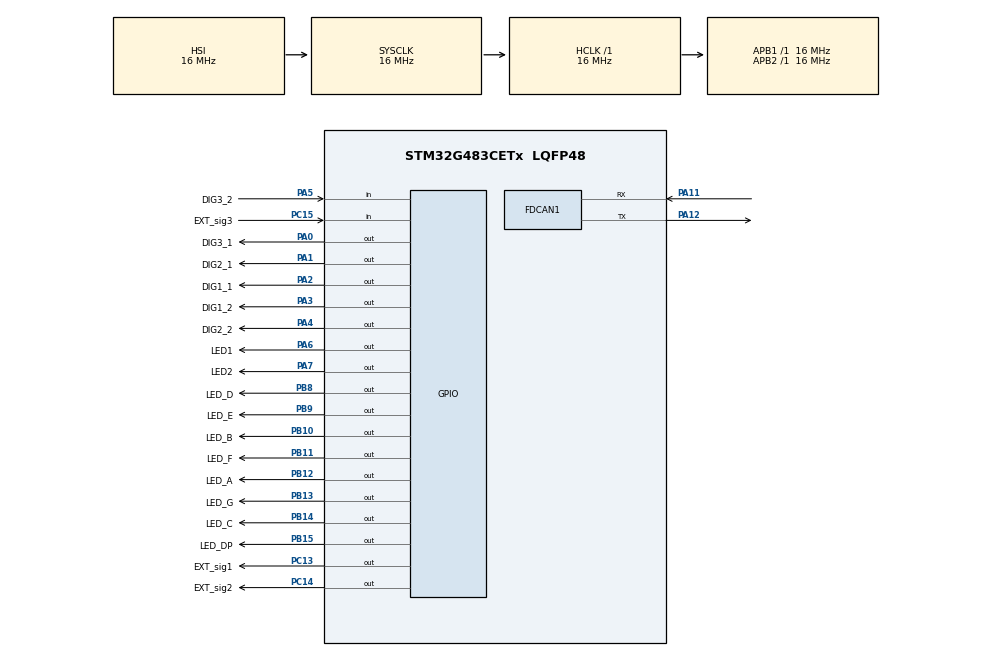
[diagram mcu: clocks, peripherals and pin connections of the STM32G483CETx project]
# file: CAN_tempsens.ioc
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FDCAN1.DataPrescaler=5
FDCAN1.DataSyncJumpWidth=16
FDCAN1.DataTimeSeg1=13
FDCAN1.DataTimeSeg2=2
FDCAN1.NominalPrescaler=5
FDCAN1.NominalSyncJumpWidth=16
FDCAN1.NominalTimeSeg1=13
Mcu.Family=STM32G4
Mcu.Name=STM32G483CETx
Mcu.Package=LQFP48
NVIC.FDCAN1_IT0_IRQn=true\:0\:0\:false\:false\:true\:true\:true
NVIC.PriorityGroup=NVIC_PRIORITYGROUP_4
PA0.GPIO_Label=DIG3_1
PA0.Signal=GPIO_Output
PA1.GPIO_Label=DIG2_1
PA1.Signal=GPIO_Output
PA11.Mode=FDCANMaster
PA11.Signal=FDCAN1_RX
PA12.Mode=FDCANMaster
PA12.Signal=FDCAN1_TX
PA13.Mode=JTAG_5_pins
PA13.Signal=SYS_JTMS-SWDIO
PA14.Mode=JTAG_5_pins
PA14.Signal=SYS_JTCK-SWCLK
PA15.Mode=JTAG_5_pins
PA15.Signal=SYS_JTDI
PA2.GPIO_Label=DIG1_1
PA2.Signal=GPIO_Output
PA3.GPIO_Label=DIG1_2
PA3.Signal=GPIO_Output
PA4.GPIO_Label=DIG2_2
PA4.Signal=GPIO_Output
PA5.GPIO_Label=DIG3_2
PA5.Signal=GPIO_Input
PA6.GPIO_Label=LED1
PA6.Signal=GPIO_Output
PA7.GPIO_Label=LED2
PA7.Signal=GPIO_Output
PB10.GPIO_Label=LED_B
PB10.Signal=GPIO_Output
PB11.GPIO_Label=LED_F
PB11.Signal=GPIO_Output
PB12.GPIO_Label=LED_A
PB12.Signal=GPIO_Output
PB13.GPIO_Label=LED_G
PB13.Signal=GPIO_Output
PB14.GPIO_Label=LED_C
PB14.Signal=GPIO_Output
PB15.GPIO_Label=LED_DP
PB15.Signal=GPIO_Output
PB3.Mode=JTAG_5_pins
PB3.Signal=SYS_JTDO-SWO
PB4.Mode=JTAG_5_pins
PB4.Signal=SYS_JTRST
PB8-BOOT0.GPIO_Label=LED_D
PB8-BOOT0.Signal=GPIO_Output
PB9.GPIO_Label=LED_E
PB9.Signal=GPIO_Output
PC13.GPIO_Label=EXT_sig1
PC13.Signal=GPIO_Output
PC14-OSC32_IN.GPIO_Label=EXT_sig2
PC14-OSC32_IN.Signal=GPIO_Output
PC15-OSC32_OUT.GPIO_Label=EXT_sig3
PC15-OSC32_OUT.Signal=GPIO_Input
ProjectManager.HeapSize=0x200
ProjectManager.StackSize=0x400
ProjectManager.TargetToolchain=STM32CubeIDE
RCC.AHBFreq_Value=16000000
RCC.APB1Freq_Value=16000000
RCC.APB1TimFreq_Value=16000000
RCC.APB2Freq_Value=16000000
RCC.APB2TimFreq_Value=16000000
RCC.CortexFreq_Value=16000000
RCC.EXTERNAL_CLOCK_VALUE=12288000
RCC.FDCANCLockSelection=RCC_FDCANCLKSOURCE_PLL
RCC.HCLKFreq_Value=16000000
RCC.HSE_VALUE=8000000
RCC.HSI48_VALUE=48000000
RCC.HSI_VALUE=16000000
RCC.LSE_VALUE=32768
RCC.PLLM=RCC_PLLM_DIV2
RCC.PLLN=15
RCC.PLLQ=RCC_PLLQ_DIV6
RCC.SYSCLKFreq_VALUE=16000000
RCC.USBFreq_Value=20000000
RCC.VCOOutputFreq_Value=120000000
VP_SYS_VS_DBSignals.Mode=DisableDeadBatterySignals
board=custom

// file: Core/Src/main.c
/* USER CODE BEGIN Header */
/**
  ******************************************************************************
  * @file           : main.c
  * @brief          : Main program body
  ******************************************************************************
  * @attention
  *
  * <h2><center>&copy; Copyright (c) 2022 STMicroelectronics.
  * All rights reserved.</center></h2>
  *
  * This software component is licensed by ST under BSD 3-Clause license,
  * the "License"; You may not use this file except in compliance with the
  * License. You may obtain a copy of the License at:
  *                        opensource.org/licenses/BSD-3-Clause
  *
  ******************************************************************************
  */
/* USER CODE END Header */
#include "main.h"

/* USER CODE BEGIN PTD */

uint16_t disp1_number;
uint16_t disp2_number;
FDCAN_TxHeaderTypeDef TxHeader;
FDCAN_RxHeaderTypeDef RxHeader;
uint8_t TxData[8];
uint8_t RxData[8];
uint32_t TxMailbox;

/* USER CODE END PTD */

FDCAN_HandleTypeDef hfdcan1;

void SystemClock_Config(void);
static void MX_GPIO_Init(void);
static void MX_FDCAN1_Init(void);

/* USER CODE BEGIN 0 */

void display_digit(uint8_t number,uint8_t decimal){
	uint32_t odr;
	uint32_t newportdata;

	uint16_t digits[] =
		   {0b0101111100000000,
			0b0100010000000000,
			0b0011011100000000,
			0b0111010100000000,
			0b0110110000000000,
			0b0111100100000000,
			0b0110101100000000,
			0b0101010000000000,
			0b0111111100000000,
			0b0111110000000000};

	odr = GPIOB->ODR;
	newportdata = (uint32_t)((0x00FF & odr) | (digits[number]));
	if(decimal){
		newportdata = newportdata | 0x8000;
	}
	GPIOB->ODR = newportdata;

}

void write_portA(uint8_t data){
	uint16_t odr = GPIOA->ODR;
	GPIOA->ODR = (uint32_t)((0b1111111111000000 & odr) | data);
}

void display_number(uint16_t number,uint8_t divisor,uint8_t display){
	uint16_t digit = (number) % 10;

	GPIOA->ODR = (uint32_t)(((uint32_t)!0b00111111) & GPIOA->ODR);
	display_digit(digit,0);
	if(display == 1){
		HAL_GPIO_WritePin(GPIOA,DIG1_1_Pin,GPIO_PIN_SET);
	}else{
		HAL_GPIO_WritePin(GPIOA,DIG1_2_Pin,GPIO_PIN_SET);
	}

	digit = (number/10) % 10;

	GPIOA->ODR = (uint32_t)(((uint32_t)!0b00111111) & GPIOA->ODR);
	if(display == 1){
		display_digit(digit,1);
		HAL_GPIO_WritePin(GPIOA,DIG2_1_Pin,GPIO_PIN_SET);
	}else{
		display_digit(digit,0);
		HAL_GPIO_WritePin(GPIOA,DIG2_2_Pin,GPIO_PIN_SET);
	}

	digit = (number/100) % 10;

	GPIOA->ODR = (uint32_t)(((uint32_t)!0b00111111) & GPIOA->ODR);
	display_digit(digit,0);
	if(display == 1){
		HAL_GPIO_WritePin(GPIOA,DIG3_1_Pin,GPIO_PIN_SET);
	}else{
		HAL_GPIO_WritePin(GPIOA,DIG3_2_Pin,GPIO_PIN_SET);
	}
}

void HAL2_Delay(uint32_t Delay)
{
  uint32_t tickstart = HAL_GetTick();
  uint32_t wait = Delay;

  /* Add a freq to guarantee minimum wait */
  if (wait < HAL_MAX_DELAY)
  {
    wait += (uint32_t)(uwTickFreq);

  }

  while ((HAL_GetTick() - tickstart) < wait)
  {
	    display_number(disp1_number,0,1);
	    display_number(disp2_number,0,0);
  }
}

void send_CAN(){

	//HAL_FDCAN_AddMessageToTxFifoQ(&hfdcan1, &TxHeader, &TxData);
	if(HAL_FDCAN_AddMessageToTxFifoQ(&hfdcan1, &TxHeader, TxData) != HAL_OK)
					{

						/*Transmission request Error*/
						Error_Handler();
					}
}

/**
  * @brief  Rx FIFO 0 callback.
  * @param  hfdcan pointer to an FDCAN_HandleTypeDef structure that contains
  *         the configuration information for the specified FDCAN.
  * @param  RxFifo0ITs indicates which Rx FIFO 0 interrupts are signalled.
  *         This parameter can be any combination of @arg FDCAN_Rx_Fifo0_Interrupts.
  */

/**
  * @brief  Rx FIFO 0 callback.
  * @param  hfdcan pointer to an FDCAN_HandleTypeDef structure that contains
  *         the configuration information for the specified FDCAN.
  * @param  RxFifo0ITs indicates which Rx FIFO 0 interrupts are signaled.
  *         This parameter can be any combination of @arg FDCAN_Rx_Fifo0_Interrupts.
  * @retval None
  */
void HAL_FDCAN_RxFifo0Callback(FDCAN_HandleTypeDef *hfdcan, uint32_t RxFifo0ITs)
{
	HAL_GPIO_TogglePin(GPIOA,LED1_Pin);
  if((RxFifo0ITs & FDCAN_IT_RX_FIFO0_NEW_MESSAGE) != 0)
  {
    /* Retrieve Rx messages from RX FIFO0 */
	if (HAL_FDCAN_GetRxMessage(hfdcan, FDCAN_RX_FIFO0, &RxHeader, RxData) != HAL_OK)
	{
	  Error_Handler();
	}
	if(RxHeader.Identifier == 0x1B030141){
		// https://github.com/Cougar/HomeAutomation/blob/f2951eb0619c6122b6983275e1e698570eed4b5a/branches/modules/EmbeddedSoftware/AVR/module/sns_ds18x20/sns_ds18x20.c
		// - cel full celsius
		// - fractions of celsius in millicelsius*(10^-1)/625 (the 4 LS-Bits)

		//This code won't work with negative numbers
		uint16_t in_temp;
		uint16_t full_cel;
		uint16_t cel_frac_bits;
		uint16_t cel_frac;

		in_temp        = (RxData[1] << 8) | RxData[2];
		full_cel       = (in_temp & 0b1111111111000000) >> 6;
		cel_frac_bits  = (in_temp & 0b000000000000111111) >> 2;
		cel_frac       = cel_frac_bits*625; //fractional parts of the temperature, in integer form
		cel_frac       = cel_frac/1000;
		if(cel_frac > 9){
			disp2_number = 88;
		}else{
			disp2_number = 11;
		}

		disp1_number   = (full_cel * 10) + cel_frac;

	}
	if(RxHeader.Identifier == 0x14002101){
		uint16_t foo; //Possible loss with signed values
		foo = (RxData[1] << 8) | RxData[2];
	//	disp2_number = (foo & 0b1111111111000000) >> 6;
	}

  }
}

/* USER CODE END 0 */

int main(void)
{

  /* MCU Configuration--------------------------------------------------------*/

  /* Reset of all peripherals, Initializes the Flash interface and the Systick. */
  HAL_Init();

  /* Configure the system clock */
  SystemClock_Config();

  /* Initialize all configured peripherals */
  MX_GPIO_Init();
  MX_FDCAN1_Init();
  /* USER CODE BEGIN 2 */
  //uint8_t a = 0;

  /* USER CODE END 2 */

  /* Infinite loop */
  while (1)
  {

    /* USER CODE BEGIN 3 */
	//  a++;

	  //disp1_number = a;
	 // disp2_number = a;
	  HAL2_Delay(1000);
	  HAL_GPIO_TogglePin(GPIOA,LED2_Pin);
	 // if(!(a % 20)){
	//	  //send_CAN();
	//	  HAL_GPIO_TogglePin(GPIOA,LED2_Pin);
	 // }
  }
  /* USER CODE END 3 */
}

void SystemClock_Config(void)
{
  RCC_OscInitTypeDef RCC_OscInitStruct = {0};
  RCC_ClkInitTypeDef RCC_ClkInitStruct = {0};
  RCC_PeriphCLKInitTypeDef PeriphClkInit = {0};

  /** Configure the main internal regulator output voltage
  */
  HAL_PWREx_ControlVoltageScaling(PWR_REGULATOR_VOLTAGE_SCALE1);
  /** Initializes the RCC Oscillators according to the specified parameters
  * in the RCC_OscInitTypeDef structure.
  */
  RCC_OscInitStruct.OscillatorType = RCC_OSCILLATORTYPE_HSI;
  RCC_OscInitStruct.HSIState = RCC_HSI_ON;
  RCC_OscInitStruct.HSICalibrationValue = RCC_HSICALIBRATION_DEFAULT;
  RCC_OscInitStruct.PLL.PLLState = RCC_PLL_ON;
  RCC_OscInitStruct.PLL.PLLSource = RCC_PLLSOURCE_HSI;
  RCC_OscInitStruct.PLL.PLLM = RCC_PLLM_DIV2;
  RCC_OscInitStruct.PLL.PLLN = 15;
  RCC_OscInitStruct.PLL.PLLP = RCC_PLLP_DIV2;
  RCC_OscInitStruct.PLL.PLLQ = RCC_PLLQ_DIV6;
  RCC_OscInitStruct.PLL.PLLR = RCC_PLLR_DIV2;
  if (HAL_RCC_OscConfig(&RCC_OscInitStruct) != HAL_OK)
  {
    Error_Handler();
  }
  /** Initializes the CPU, AHB and APB buses clocks
  */
  RCC_ClkInitStruct.ClockType = RCC_CLOCKTYPE_HCLK|RCC_CLOCKTYPE_SYSCLK
                              |RCC_CLOCKTYPE_PCLK1|RCC_CLOCKTYPE_PCLK2;
  RCC_ClkInitStruct.SYSCLKSource = RCC_SYSCLKSOURCE_HSI;
  RCC_ClkInitStruct.AHBCLKDivider = RCC_SYSCLK_DIV1;
  RCC_ClkInitStruct.APB1CLKDivider = RCC_HCLK_DIV1;
  RCC_ClkInitStruct.APB2CLKDivider = RCC_HCLK_DIV1;

  if (HAL_RCC_ClockConfig(&RCC_ClkInitStruct, FLASH_LATENCY_0) != HAL_OK)
  {
    Error_Handler();
  }
  /** Initializes the peripherals clocks
  */
  PeriphClkInit.PeriphClockSelection = RCC_PERIPHCLK_FDCAN;
  PeriphClkInit.FdcanClockSelection = RCC_FDCANCLKSOURCE_PLL;
  if (HAL_RCCEx_PeriphCLKConfig(&PeriphClkInit) != HAL_OK)
  {
    Error_Handler();
  }
}

static void MX_FDCAN1_Init(void)
{

  /* USER CODE BEGIN FDCAN1_Init 0 */
	FDCAN_FilterTypeDef sFilterConfig;
		/* Configure Rx filter */
		sFilterConfig.FilterConfig = FDCAN_FILTER_DISABLE;
		sFilterConfig.IdType = FDCAN_STANDARD_ID;
		sFilterConfig.FilterIndex = 0;
		sFilterConfig.FilterType = FDCAN_FILTER_MASK;
		sFilterConfig.FilterID1 = 0x000;
		sFilterConfig.FilterID2 = 0x7FF;
  /* USER CODE END FDCAN1_Init 0 */

  hfdcan1.Instance = FDCAN1;
  hfdcan1.Init.ClockDivider = FDCAN_CLOCK_DIV1;
  hfdcan1.Init.FrameFormat = FDCAN_FRAME_CLASSIC;
  hfdcan1.Init.Mode = FDCAN_MODE_NORMAL;
  hfdcan1.Init.AutoRetransmission = DISABLE;
  hfdcan1.Init.TransmitPause = DISABLE;
  hfdcan1.Init.ProtocolException = DISABLE;
  hfdcan1.Init.NominalPrescaler = 5;
  hfdcan1.Init.NominalSyncJumpWidth = 16;
  hfdcan1.Init.NominalTimeSeg1 = 13;
  hfdcan1.Init.NominalTimeSeg2 = 2;
  hfdcan1.Init.DataPrescaler = 5;
  hfdcan1.Init.DataSyncJumpWidth = 16;
  hfdcan1.Init.DataTimeSeg1 = 13;
  hfdcan1.Init.DataTimeSeg2 = 2;
  hfdcan1.Init.StdFiltersNbr = 0;
  hfdcan1.Init.ExtFiltersNbr = 0;
  hfdcan1.Init.TxFifoQueueMode = FDCAN_TX_FIFO_OPERATION;
  if (HAL_FDCAN_Init(&hfdcan1) != HAL_OK)
  {
    Error_Handler();
  }
  /* USER CODE BEGIN FDCAN1_Init 2 */

  	if (HAL_FDCAN_ConfigFilter(&hfdcan1, &sFilterConfig) != HAL_OK){
  		Error_Handler();
  	}

  	if (HAL_FDCAN_ActivateNotification(&hfdcan1, FDCAN_IT_RX_FIFO0_NEW_MESSAGE,0) != HAL_OK){
  	  Error_Handler();
    }

  	if(HAL_FDCAN_Start(&hfdcan1) != HAL_OK){
  		Error_Handler();
  	}

  	//INIT TXheader frame
	//TxHeader.Identifier = 0x1FFFFFFF;
	TxHeader.Identifier = 0b00101111111111111111111111111; //SNS_class
	TxHeader.FDFormat = FDCAN_CLASSIC_CAN;
	TxHeader.IdType = FDCAN_EXTENDED_ID;
	TxHeader.TxFrameType = FDCAN_DATA_FRAME;
	TxHeader.DataLength = FDCAN_DLC_BYTES_2;
	TxHeader.TxEventFifoControl = FDCAN_NO_TX_EVENTS;
	TxHeader.ErrorStateIndicator = FDCAN_ESI_ACTIVE;
	TxHeader.MessageMarker = 0;

  /* USER CODE END FDCAN1_Init 2 */

}

static void MX_GPIO_Init(void)
{
  GPIO_InitTypeDef GPIO_InitStruct = {0};

  /* GPIO Ports Clock Enable */
  __HAL_RCC_GPIOC_CLK_ENABLE();
  __HAL_RCC_GPIOA_CLK_ENABLE();
  __HAL_RCC_GPIOB_CLK_ENABLE();

  /*Configure GPIO pin Output Level */
  HAL_GPIO_WritePin(GPIOC, EXT_sig1_Pin|EXT_sig2_Pin, GPIO_PIN_RESET);

  /*Configure GPIO pin Output Level */
  HAL_GPIO_WritePin(GPIOA, DIG3_1_Pin|DIG2_1_Pin|DIG1_1_Pin|DIG1_2_Pin
                          |DIG2_2_Pin|LED1_Pin|LED2_Pin, GPIO_PIN_RESET);

  /*Configure GPIO pin Output Level */
  HAL_GPIO_WritePin(GPIOB, LED_B_Pin|LED_F_Pin|LED_A_Pin|LED_G_Pin
                          |LED_C_Pin|LED_DP_Pin|LED_D_Pin|LED_E_Pin, GPIO_PIN_RESET);

  /*Configure GPIO pins : EXT_sig1_Pin EXT_sig2_Pin */
  GPIO_InitStruct.Pin = EXT_sig1_Pin|EXT_sig2_Pin;
  GPIO_InitStruct.Mode = GPIO_MODE_OUTPUT_PP;
  GPIO_InitStruct.Pull = GPIO_NOPULL;
  GPIO_InitStruct.Speed = GPIO_SPEED_FREQ_LOW;
  HAL_GPIO_Init(GPIOC, &GPIO_InitStruct);

  /*Configure GPIO pin : EXT_sig3_Pin */
  GPIO_InitStruct.Pin = EXT_sig3_Pin;
  GPIO_InitStruct.Mode = GPIO_MODE_INPUT;
  GPIO_InitStruct.Pull = GPIO_NOPULL;
  HAL_GPIO_Init(EXT_sig3_GPIO_Port, &GPIO_InitStruct);

  /*Configure GPIO pins : DIG3_1_Pin DIG2_1_Pin DIG1_1_Pin DIG1_2_Pin
                           DIG2_2_Pin LED1_Pin LED2_Pin */
  GPIO_InitStruct.Pin = DIG3_1_Pin|DIG2_1_Pin|DIG1_1_Pin|DIG1_2_Pin
                          |DIG2_2_Pin|LED1_Pin|LED2_Pin;
  GPIO_InitStruct.Mode = GPIO_MODE_OUTPUT_PP;
  GPIO_InitStruct.Pull = GPIO_NOPULL;
  GPIO_InitStruct.Speed = GPIO_SPEED_FREQ_LOW;
  HAL_GPIO_Init(GPIOA, &GPIO_InitStruct);

  /*Configure GPIO pin : DIG3_2_Pin */
  GPIO_InitStruct.Pin = DIG3_2_Pin;
  GPIO_InitStruct.Mode = GPIO_MODE_INPUT;
  GPIO_InitStruct.Pull = GPIO_NOPULL;
  HAL_GPIO_Init(DIG3_2_GPIO_Port, &GPIO_InitStruct);

  /*Configure GPIO pins : LED_B_Pin LED_F_Pin LED_A_Pin LED_G_Pin
                           LED_C_Pin LED_DP_Pin LED_D_Pin LED_E_Pin */
  GPIO_InitStruct.Pin = LED_B_Pin|LED_F_Pin|LED_A_Pin|LED_G_Pin
                          |LED_C_Pin|LED_DP_Pin|LED_D_Pin|LED_E_Pin;
  GPIO_InitStruct.Mode = GPIO_MODE_OUTPUT_PP;
  GPIO_InitStruct.Pull = GPIO_NOPULL;
  GPIO_InitStruct.Speed = GPIO_SPEED_FREQ_LOW;
  HAL_GPIO_Init(GPIOB, &GPIO_InitStruct);

}

void Error_Handler(void)
{
}

/************************ (C) COPYRIGHT STMicroelectronics *****END OF FILE****/
